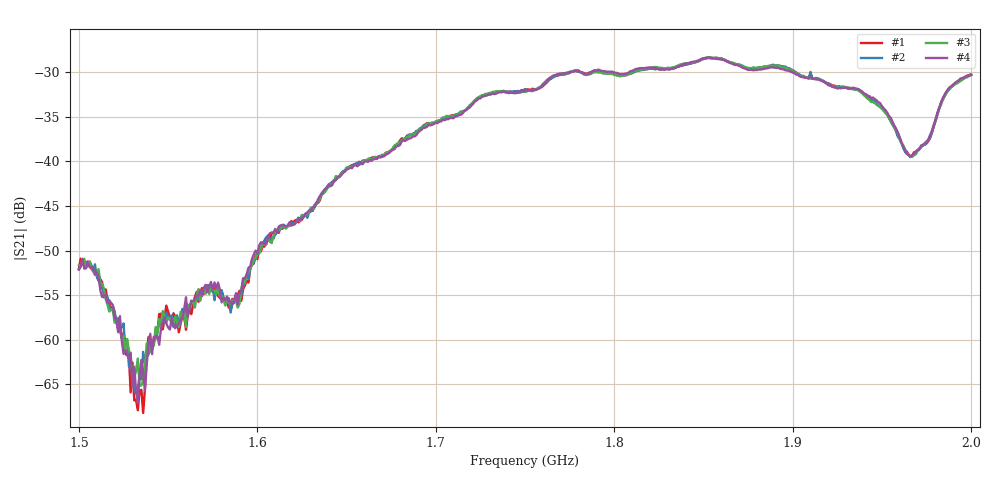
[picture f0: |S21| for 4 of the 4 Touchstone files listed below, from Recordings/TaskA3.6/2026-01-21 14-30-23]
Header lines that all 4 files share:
! NanoVNA-App by SYSJOINT et al v1.1.209 (+OD18)
! Start: 1,5GHz Stop: 2GHz Points: 501
! S-Parameter data: F S11 S21 S12 S22
# Hz S RI R 50
!  Frequency  S11_Real  S11_Imag  S21_Real  S21_Imag  S12_Real  S12_Imag  S22_Real  S22_Imag
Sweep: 1.5 GHz to 2 GHz
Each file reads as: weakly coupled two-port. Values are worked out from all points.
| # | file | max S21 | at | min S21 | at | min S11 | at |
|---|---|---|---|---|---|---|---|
| 1 | 0.s2p | -28.41 dB | 1.853 GHz | -68.2 dB | 1.536 GHz | -30.6 dB | 1.817 GHz |
| 2 | 1.s2p | -28.41 dB | 1.853 GHz | -66.0 dB | 1.532 GHz | -29.9 dB | 1.817 GHz |
| 3 | 2.s2p | -28.36 dB | 1.853 GHz | -65.1 dB | 1.535 GHz | -30.8 dB | 1.817 GHz |
| 4 | 3.s2p | -28.40 dB | 1.853 GHz | -67.0 dB | 1.533 GHz | -30.1 dB | 1.817 GHz |
